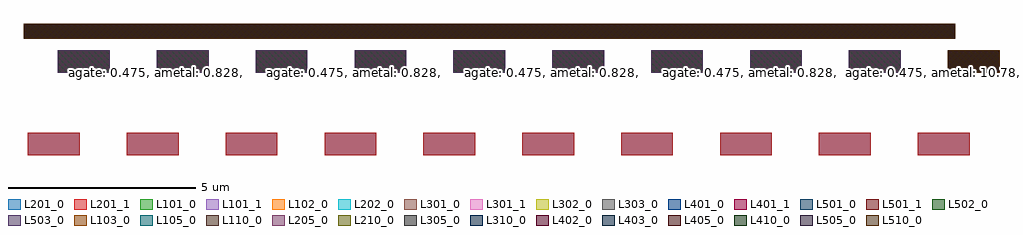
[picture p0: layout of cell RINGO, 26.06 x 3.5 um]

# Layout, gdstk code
import gdstk
lib = gdstk.Library(unit=1e-6, precision=1e-09)
def R(c, l, rs):  # rectangles x0, y0, x1, y1
    for r in rs: c.add(gdstk.rectangle(r[:2], r[2:], *l))
def A(c, l, x, y, w, h, nx, ny, dx, dy):  # array of equal rectangles
    R(c, l, [(x+i*dx, y+j*dy, x+i*dx+w, y+j*dy+h) for i in range(nx) for j in range(ny)])
L101_0 = (101, 0)
L101_1 = (101, 1)
L102_0 = (102, 0)
L103_0 = (103, 0)
L105_0 = (105, 0)
L110_0 = (110, 0)
L201_0 = (201, 0)
L201_1 = (201, 1)
L202_0 = (202, 0)
L205_0 = (205, 0)
L210_0 = (210, 0)
L301_0 = (301, 0)
L301_1 = (301, 1)
L302_0 = (302, 0)
L303_0 = (303, 0)
L305_0 = (305, 0)
L310_0 = (310, 0)
L401_0 = (401, 0)
L401_1 = (401, 1)
L402_0 = (402, 0)
L403_0 = (403, 0)
L405_0 = (405, 0)
L410_0 = (410, 0)
L501_0 = (501, 0)
L501_1 = (501, 1)
L502_0 = (502, 0)
L503_0 = (503, 0)
L505_0 = (505, 0)
L510_0 = (510, 0)

trans = lib.new_cell('TRANS')

inv2 = lib.new_cell('INV2')
R(inv2, L201_0, [(-1.6,-1.5,-0.22,-0.9)])
R(inv2, L201_1, [(-1.6,-1.5,-0.22,-0.9)])
inv2.add(gdstk.Reference(trans, (-0.4,0)))
inv2.add(gdstk.Reference(trans, (-0.4,2.8)))
inv2.add(gdstk.Reference(trans, (0.4,0), x_reflection=True))
inv2.add(gdstk.Reference(trans, (0.4,2.8), x_reflection=True))
inv2.add(gdstk.Label('agate: 0.475, ametal: 0.828, adiodes: (1.1174), diode_factors: (0.5), ratio: 1.74315789473684, max_ratio_eff: 1.5587, max_ratio: 1', (-1.6,-1.5), layer=201, texttype=10))

ringo = lib.new_cell('RINGO')
A(ringo, L101_0, -0.8, 0.7, 1.38, 0.6, 10, 1, 2.64, 0)
R(ringo, L101_0, [(-1.72,1.6,23.16,2)])
A(ringo, L101_1, -0.8, 0.7, 1.38, 0.6, 10, 1, 2.64, 0)
R(ringo, L101_1, [(-1.72,1.6,23.16,2)])
A(ringo, L102_0, -0.8, 0.7, 1.38, 0.6, 10, 1, 2.64, 0)
R(ringo, L102_0, [(-1.72,1.6,23.16,2)])
R(ringo, L103_0, [(22.96,0.7,24.34,1.3), (-1.72,1.6,23.16,2)])
R(ringo, L105_0, [(22.96,0.7,24.34,1.3), (-1.72,1.6,23.16,2)])
R(ringo, L110_0, [(22.96,0.7,24.34,1.3), (-1.72,1.6,23.16,2)])
A(ringo, L201_0, -0.8, 0.7, 1.38, 0.6, 10, 1, 2.64, 0)
R(ringo, L201_0, [(-1.72,1.6,23.16,2)])
A(ringo, L201_1, -0.8, 0.7, 1.38, 0.6, 10, 1, 2.64, 0)
R(ringo, L201_1, [(-1.72,1.6,23.16,2)])
A(ringo, L202_0, -0.8, 0.7, 1.38, 0.6, 10, 1, 2.64, 0)
R(ringo, L202_0, [(-1.72,1.6,23.16,2)])
R(ringo, L205_0, [(22.96,0.7,24.34,1.3), (-1.72,1.6,23.16,2)])
R(ringo, L210_0, [(22.96,0.7,24.34,1.3), (-1.72,1.6,23.16,2)])
A(ringo, L301_0, -0.8, 0.7, 1.38, 0.6, 10, 1, 2.64, 0)
R(ringo, L301_0, [(-1.72,1.6,23.16,2)])
A(ringo, L301_1, -0.8, 0.7, 1.38, 0.6, 10, 1, 2.64, 0)
R(ringo, L301_1, [(-1.72,1.6,23.16,2)])
A(ringo, L302_0, -0.8, 0.7, 1.38, 0.6, 10, 1, 2.64, 0)
R(ringo, L302_0, [(-1.72,1.6,23.16,2)])
A(ringo, L303_0, -0.8, 0.7, 1.38, 0.6, 10, 1, 2.64, 0)
R(ringo, L303_0, [(-1.72,1.6,23.16,2)])
R(ringo, L305_0, [(22.96,0.7,24.34,1.3), (-1.72,1.6,23.16,2)])
R(ringo, L310_0, [(22.96,0.7,24.34,1.3), (-1.72,1.6,23.16,2)])
A(ringo, L401_0, -0.8, 0.7, 1.38, 0.6, 10, 1, 2.64, 0)
R(ringo, L401_0, [(-1.72,1.6,23.16,2)])
A(ringo, L401_1, -0.8, 0.7, 1.38, 0.6, 10, 1, 2.64, 0)
R(ringo, L401_1, [(-1.72,1.6,23.16,2)])
R(ringo, L402_0, [(22.96,0.7,24.34,1.3), (-1.72,1.6,23.16,2)])
R(ringo, L403_0, [(22.96,0.7,24.34,1.3), (-1.72,1.6,23.16,2)])
R(ringo, L405_0, [(22.96,0.7,24.34,1.3), (-1.72,1.6,23.16,2)])
R(ringo, L410_0, [(22.96,0.7,24.34,1.3), (-1.72,1.6,23.16,2)])
A(ringo, L501_0, -0.8, 0.7, 1.38, 0.6, 10, 1, 2.64, 0)
R(ringo, L501_0, [(-1.72,1.6,23.16,2)])
A(ringo, L501_1, -0.8, 0.7, 1.38, 0.6, 10, 1, 2.64, 0)
R(ringo, L501_1, [(-1.72,1.6,23.16,2)])
A(ringo, L502_0, -0.8, 0.7, 1.38, 0.6, 10, 1, 2.64, 0)
R(ringo, L502_0, [(-1.72,1.6,23.16,2)])
A(ringo, L503_0, -0.8, 0.7, 1.38, 0.6, 10, 1, 2.64, 0)
R(ringo, L503_0, [(-1.72,1.6,23.16,2)])
R(ringo, L505_0, [(22.96,0.7,24.34,1.3), (-1.72,1.6,23.16,2)])
R(ringo, L510_0, [(22.96,0.7,24.34,1.3), (-1.72,1.6,23.16,2)])
ringo.add(gdstk.Reference(inv2, (0,0)))
ringo.add(gdstk.Reference(inv2, (2.64,0)))
ringo.add(gdstk.Reference(inv2, (5.28,0)))
ringo.add(gdstk.Reference(inv2, (7.92,0)))
ringo.add(gdstk.Reference(inv2, (10.56,0)))
ringo.add(gdstk.Reference(inv2, (13.2,0)))
ringo.add(gdstk.Reference(inv2, (15.84,0)))
ringo.add(gdstk.Reference(inv2, (18.48,0)))
ringo.add(gdstk.Reference(inv2, (21.12,0)))
ringo.add(gdstk.Reference(inv2, (23.76,0)))
ringo.add(gdstk.Label('agate: 0.475, ametal: 10.78, adiodes: (0), diode_factors: (0.5), ratio: 22.6947368421053, max_ratio: 1', (22.96,0.7), layer=201, texttype=10))
ringo.add(gdstk.Label('agate: 0.475, ametal: 0.828, adiodes: (0), diode_factors: (0.5), ratio: 1.74315789473684, max_ratio: 1', (20.32,0.7), layer=201, texttype=10))
ringo.add(gdstk.Label('agate: 0.475, ametal: 0.828, adiodes: (0), diode_factors: (0.5), ratio: 1.74315789473684, max_ratio: 1', (17.68,0.7), layer=201, texttype=10))
ringo.add(gdstk.Label('agate: 0.475, ametal: 0.828, adiodes: (0), diode_factors: (0.5), ratio: 1.74315789473684, max_ratio: 1', (15.04,0.7), layer=201, texttype=10))
ringo.add(gdstk.Label('agate: 0.475, ametal: 0.828, adiodes: (0), diode_factors: (0.5), ratio: 1.74315789473684, max_ratio: 1', (12.4,0.7), layer=201, texttype=10))
ringo.add(gdstk.Label('agate: 0.475, ametal: 0.828, adiodes: (0), diode_factors: (0.5), ratio: 1.74315789473684, max_ratio: 1', (9.76,0.7), layer=201, texttype=10))
ringo.add(gdstk.Label('agate: 0.475, ametal: 0.828, adiodes: (0), diode_factors: (0.5), ratio: 1.74315789473684, max_ratio: 1', (7.12,0.7), layer=201, texttype=10))
ringo.add(gdstk.Label('agate: 0.475, ametal: 0.828, adiodes: (0), diode_factors: (0.5), ratio: 1.74315789473684, max_ratio: 1', (4.48,0.7), layer=201, texttype=10))
ringo.add(gdstk.Label('agate: 0.475, ametal: 0.828, adiodes: (0), diode_factors: (0.5), ratio: 1.74315789473684, max_ratio: 1', (1.84,0.7), layer=201, texttype=10))
ringo.add(gdstk.Label('agate: 0.475, ametal: 0.828, adiodes: (0), diode_factors: (0.5), ratio: 1.74315789473684, max_ratio: 1', (-0.8,0.7), layer=201, texttype=10))
ringo.add(gdstk.Label('agate: 0.475, ametal: 10.78, adiodes: (0), diode_factors: (0), ratio: 22.6947368421053, max_ratio: 1', (22.96,0.7), layer=101, texttype=10))
ringo.add(gdstk.Label('agate: 0.475, ametal: 0.828, adiodes: (0), diode_factors: (0), ratio: 1.74315789473684, max_ratio: 1', (20.32,0.7), layer=101, texttype=10))
ringo.add(gdstk.Label('agate: 0.475, ametal: 0.828, adiodes: (0), diode_factors: (0), ratio: 1.74315789473684, max_ratio: 1', (17.68,0.7), layer=101, texttype=10))
ringo.add(gdstk.Label('agate: 0.475, ametal: 0.828, adiodes: (0), diode_factors: (0), ratio: 1.74315789473684, max_ratio: 1', (15.04,0.7), layer=101, texttype=10))
ringo.add(gdstk.Label('agate: 0.475, ametal: 0.828, adiodes: (0), diode_factors: (0), ratio: 1.74315789473684, max_ratio: 1', (12.4,0.7), layer=101, texttype=10))
ringo.add(gdstk.Label('agate: 0.475, ametal: 0.828, adiodes: (0), diode_factors: (0), ratio: 1.74315789473684, max_ratio: 1', (9.76,0.7), layer=101, texttype=10))
ringo.add(gdstk.Label('agate: 0.475, ametal: 0.828, adiodes: (0), diode_factors: (0), ratio: 1.74315789473684, max_ratio: 1', (7.12,0.7), layer=101, texttype=10))
ringo.add(gdstk.Label('agate: 0.475, ametal: 0.828, adiodes: (0), diode_factors: (0), ratio: 1.74315789473684, max_ratio: 1', (4.48,0.7), layer=101, texttype=10))
ringo.add(gdstk.Label('agate: 0.475, ametal: 0.828, adiodes: (0), diode_factors: (0), ratio: 1.74315789473684, max_ratio: 1', (1.84,0.7), layer=101, texttype=10))
ringo.add(gdstk.Label('agate: 0.475, ametal: 0.828, adiodes: (0), diode_factors: (0), ratio: 1.74315789473684, max_ratio: 1', (-0.8,0.7), layer=101, texttype=10))
ringo.add(gdstk.Label('agate: 0.475, ametal: 10.78, ametal_factor: 1, pmetal: 54.52, pmetal_factor: 0.2, ametal_eff: 21.684, adiodes: (0), diode_factors: (0), ratio: 45.6505263157895, max_ratio: 1', (22.96,0.7), layer=301, texttype=10))
ringo.add(gdstk.Label('agate: 0.475, ametal: 0.828, ametal_factor: 1, pmetal: 3.96, pmetal_factor: 0.2, ametal_eff: 1.62, adiodes: (0), diode_factors: (0), ratio: 3.41052631578947, max_ratio: 1', (20.32,0.7), layer=301, texttype=10))
ringo.add(gdstk.Label('agate: 0.475, ametal: 0.828, ametal_factor: 1, pmetal: 3.96, pmetal_factor: 0.2, ametal_eff: 1.62, adiodes: (0), diode_factors: (0), ratio: 3.41052631578947, max_ratio: 1', (17.68,0.7), layer=301, texttype=10))
ringo.add(gdstk.Label('agate: 0.475, ametal: 0.828, ametal_factor: 1, pmetal: 3.96, pmetal_factor: 0.2, ametal_eff: 1.62, adiodes: (0), diode_factors: (0), ratio: 3.41052631578947, max_ratio: 1', (15.04,0.7), layer=301, texttype=10))
ringo.add(gdstk.Label('agate: 0.475, ametal: 0.828, ametal_factor: 1, pmetal: 3.96, pmetal_factor: 0.2, ametal_eff: 1.62, adiodes: (0), diode_factors: (0), ratio: 3.41052631578947, max_ratio: 1', (12.4,0.7), layer=301, texttype=10))
ringo.add(gdstk.Label('agate: 0.475, ametal: 0.828, ametal_factor: 1, pmetal: 3.96, pmetal_factor: 0.2, ametal_eff: 1.62, adiodes: (0), diode_factors: (0), ratio: 3.41052631578947, max_ratio: 1', (9.76,0.7), layer=301, texttype=10))
ringo.add(gdstk.Label('agate: 0.475, ametal: 0.828, ametal_factor: 1, pmetal: 3.96, pmetal_factor: 0.2, ametal_eff: 1.62, adiodes: (0), diode_factors: (0), ratio: 3.41052631578947, max_ratio: 1', (7.12,0.7), layer=301, texttype=10))
ringo.add(gdstk.Label('agate: 0.475, ametal: 0.828, ametal_factor: 1, pmetal: 3.96, pmetal_factor: 0.2, ametal_eff: 1.62, adiodes: (0), diode_factors: (0), ratio: 3.41052631578947, max_ratio: 1', (4.48,0.7), layer=301, texttype=10))
ringo.add(gdstk.Label('agate: 0.475, ametal: 0.828, ametal_factor: 1, pmetal: 3.96, pmetal_factor: 0.2, ametal_eff: 1.62, adiodes: (0), diode_factors: (0), ratio: 3.41052631578947, max_ratio: 1', (1.84,0.7), layer=301, texttype=10))
ringo.add(gdstk.Label('agate: 0.475, ametal: 0.828, ametal_factor: 1, pmetal: 3.96, pmetal_factor: 0.2, ametal_eff: 1.62, adiodes: (0), diode_factors: (0), ratio: 3.41052631578947, max_ratio: 1', (-0.8,0.7), layer=301, texttype=10))
ringo.add(gdstk.Label('agate: 0.475, agate_factor: 1, pgate: 4.8, pgate_factor: 0.07, agate_eff: 0.811, ametal: 10.78, adiodes: (0), diode_factors: (0), ratio: 13.2922318125771, max_ratio: 1', (22.96,0.7), layer=401, texttype=10))
ringo.add(gdstk.Label('agate: 0.475, agate_factor: 1, pgate: 4.8, pgate_factor: 0.07, agate_eff: 0.811, ametal: 0.828, adiodes: (0), diode_factors: (0), ratio: 1.0209617755857, max_ratio: 1', (20.32,0.7), layer=401, texttype=10))
ringo.add(gdstk.Label('agate: 0.475, agate_factor: 1, pgate: 4.8, pgate_factor: 0.07, agate_eff: 0.811, ametal: 0.828, adiodes: (0), diode_factors: (0), ratio: 1.0209617755857, max_ratio: 1', (17.68,0.7), layer=401, texttype=10))
ringo.add(gdstk.Label('agate: 0.475, agate_factor: 1, pgate: 4.8, pgate_factor: 0.07, agate_eff: 0.811, ametal: 0.828, adiodes: (0), diode_factors: (0), ratio: 1.0209617755857, max_ratio: 1', (15.04,0.7), layer=401, texttype=10))
ringo.add(gdstk.Label('agate: 0.475, agate_factor: 1, pgate: 4.8, pgate_factor: 0.07, agate_eff: 0.811, ametal: 0.828, adiodes: (0), diode_factors: (0), ratio: 1.0209617755857, max_ratio: 1', (12.4,0.7), layer=401, texttype=10))
ringo.add(gdstk.Label('agate: 0.475, agate_factor: 1, pgate: 4.8, pgate_factor: 0.07, agate_eff: 0.811, ametal: 0.828, adiodes: (0), diode_factors: (0), ratio: 1.0209617755857, max_ratio: 1', (9.76,0.7), layer=401, texttype=10))
ringo.add(gdstk.Label('agate: 0.475, agate_factor: 1, pgate: 4.8, pgate_factor: 0.07, agate_eff: 0.811, ametal: 0.828, adiodes: (0), diode_factors: (0), ratio: 1.0209617755857, max_ratio: 1', (7.12,0.7), layer=401, texttype=10))
ringo.add(gdstk.Label('agate: 0.475, agate_factor: 1, pgate: 4.8, pgate_factor: 0.07, agate_eff: 0.811, ametal: 0.828, adiodes: (0), diode_factors: (0), ratio: 1.0209617755857, max_ratio: 1', (4.48,0.7), layer=401, texttype=10))
ringo.add(gdstk.Label('agate: 0.475, agate_factor: 1, pgate: 4.8, pgate_factor: 0.07, agate_eff: 0.811, ametal: 0.828, adiodes: (0), diode_factors: (0), ratio: 1.0209617755857, max_ratio: 1', (1.84,0.7), layer=401, texttype=10))
ringo.add(gdstk.Label('agate: 0.475, agate_factor: 1, pgate: 4.8, pgate_factor: 0.07, agate_eff: 0.811, ametal: 0.828, adiodes: (0), diode_factors: (0), ratio: 1.0209617755857, max_ratio: 1', (-0.8,0.7), layer=401, texttype=10))
ringo.add(gdstk.Label('pgate: 4.8, pgate_factor: 0.07, agate_eff: 0.336, ametal: 10.78, adiodes: (0), diode_factors: (0), ratio: 32.0833333333333, max_ratio: 1', (22.96,0.7), layer=501, texttype=10))
ringo.add(gdstk.Label('pgate: 4.8, pgate_factor: 0.07, agate_eff: 0.336, ametal: 0.828, adiodes: (0), diode_factors: (0), ratio: 2.46428571428571, max_ratio: 1', (20.32,0.7), layer=501, texttype=10))
ringo.add(gdstk.Label('pgate: 4.8, pgate_factor: 0.07, agate_eff: 0.336, ametal: 0.828, adiodes: (0), diode_factors: (0), ratio: 2.46428571428571, max_ratio: 1', (17.68,0.7), layer=501, texttype=10))
ringo.add(gdstk.Label('pgate: 4.8, pgate_factor: 0.07, agate_eff: 0.336, ametal: 0.828, adiodes: (0), diode_factors: (0), ratio: 2.46428571428571, max_ratio: 1', (15.04,0.7), layer=501, texttype=10))
ringo.add(gdstk.Label('pgate: 4.8, pgate_factor: 0.07, agate_eff: 0.336, ametal: 0.828, adiodes: (0), diode_factors: (0), ratio: 2.46428571428571, max_ratio: 1', (12.4,0.7), layer=501, texttype=10))
ringo.add(gdstk.Label('pgate: 4.8, pgate_factor: 0.07, agate_eff: 0.336, ametal: 0.828, adiodes: (0), diode_factors: (0), ratio: 2.46428571428571, max_ratio: 1', (9.76,0.7), layer=501, texttype=10))
ringo.add(gdstk.Label('pgate: 4.8, pgate_factor: 0.07, agate_eff: 0.336, ametal: 0.828, adiodes: (0), diode_factors: (0), ratio: 2.46428571428571, max_ratio: 1', (7.12,0.7), layer=501, texttype=10))
ringo.add(gdstk.Label('pgate: 4.8, pgate_factor: 0.07, agate_eff: 0.336, ametal: 0.828, adiodes: (0), diode_factors: (0), ratio: 2.46428571428571, max_ratio: 1', (4.48,0.7), layer=501, texttype=10))
ringo.add(gdstk.Label('pgate: 4.8, pgate_factor: 0.07, agate_eff: 0.336, ametal: 0.828, adiodes: (0), diode_factors: (0), ratio: 2.46428571428571, max_ratio: 1', (1.84,0.7), layer=501, texttype=10))
ringo.add(gdstk.Label('pgate: 4.8, pgate_factor: 0.07, agate_eff: 0.336, ametal: 0.828, adiodes: (0), diode_factors: (0), ratio: 2.46428571428571, max_ratio: 1', (-0.8,0.7), layer=501, texttype=10))

lib.write_gds('RINGO.gds')
